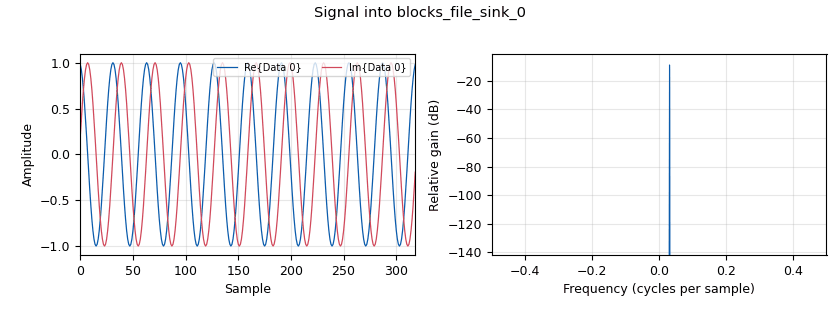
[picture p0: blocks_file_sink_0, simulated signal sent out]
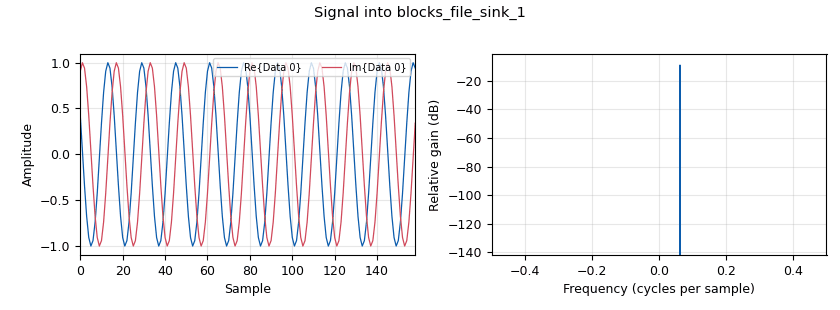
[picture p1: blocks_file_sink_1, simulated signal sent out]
options:
  parameters:
    generate_options: no_gui
    id: cudaTunerTestData
    output_language: python
    run_options: run
    title: Not titled yet
  states: {}

blocks:
- name: samp_rate
  id: variable
  parameters:
    value: '32000'
  states: {}
- name: analog_sig_source_x_0
  id: analog_sig_source_x
  parameters:
    amp: '1'
    freq: '1000'
    offset: '0'
    phase: '0'
    samp_rate: samp_rate
    type: complex
    waveform: analog.GR_COS_WAVE
  states: {}
- name: analog_sig_source_x_1
  id: analog_sig_source_x
  parameters:
    amp: '1'
    freq: '1000'
    offset: '0'
    phase: '0.741'
    samp_rate: samp_rate
    type: complex
    waveform: analog.GR_COS_WAVE
  states: {}
- name: blocks_file_sink_0
  id: blocks_file_sink
  parameters:
    file: cuda_tuner_input.fc32
    type: complex
  states: {}
- name: blocks_file_sink_1
  id: blocks_file_sink
  parameters:
    file: cuda_tuner_output.fc32
    type: complex
  states: {}
- name: blocks_head_0
  id: blocks_head
  parameters:
    num_items: samp_rate
    type: complex
  states: {}
- name: blocks_head_1
  id: blocks_head
  parameters:
    num_items: samp_rate
    type: complex
  states: {}
- name: blocks_multiply_xx_0
  id: blocks_multiply_xx
  parameters:
    type: complex
  states: {}

connections:
- [analog_sig_source_x_0, '0', blocks_head_0, '0']
- [analog_sig_source_x_1, '0', blocks_head_1, '0']
- [blocks_head_0, '0', blocks_file_sink_0, '0']
- [blocks_head_0, '0', blocks_multiply_xx_0, '0']
- [blocks_head_1, '0', blocks_multiply_xx_0, '1']
- [blocks_multiply_xx_0, '0', blocks_file_sink_1, '0']

metadata:
  file_format: 1
